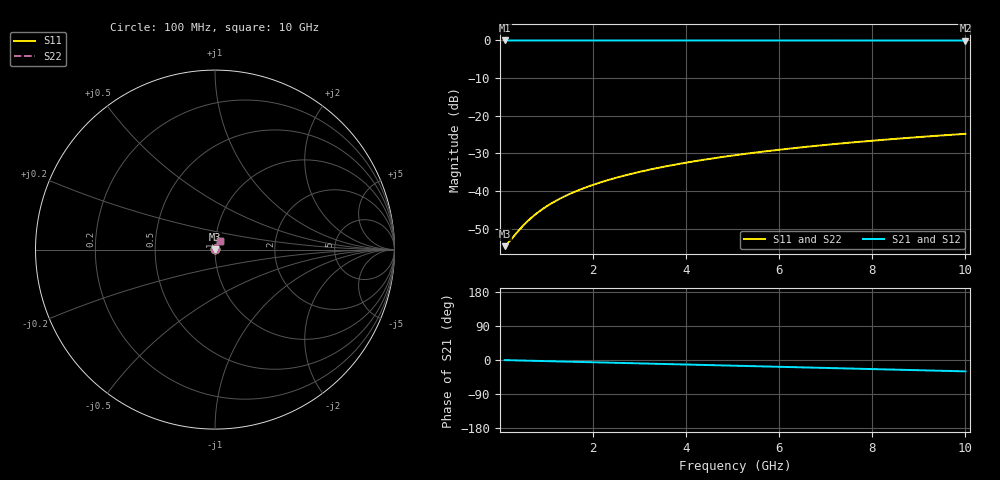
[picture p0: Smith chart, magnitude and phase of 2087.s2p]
# Hz S RI R 50.00
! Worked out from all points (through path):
!   100 points, 100 MHz to 10 GHz, reference 50 ohm
!   highest |S21| = -0.02 dB at 100 MHz (marker M1); lowest = 0.0 dB at 10 GHz (marker M2)
!   group delay of S21, straight-line fit = 8.34 ps
!   lowest |S11| = -54.6 dB at 100 MHz (marker M3), VSWR 1.00, Z = 50.2 + j0.0593 ohm
!   |S11| at or under -10 dB: start of sweep to end of sweep
!   |S22| runs from -54.6 to -24.8 dB; largest |S21 - S12| = 0
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1e8  0.00176 0.00059  0.9982 -0.00519  0.9982 -0.00519  0.00176 0.00059
2e8  0.00178 0.00118  0.9982 -0.0104  0.9982 -0.0104  0.00178 0.00118
4e8  0.00183 0.00236  0.998 -0.0208  0.998 -0.0208  0.00183 0.00236
5e8  0.00186 0.00295  0.9979 -0.026  0.9979 -0.026  0.00186 0.00295
6e8  0.00189 0.00354  0.9977 -0.0312  0.9977 -0.0312  0.00189 0.00354
7e8  0.00194 0.00413  0.9975 -0.0363  0.9975 -0.0363  0.00194 0.00413
9e8  0.00204 0.0053  0.9971 -0.0467  0.9971 -0.0467  0.00204 0.0053
1.1e9  0.00217 0.00647  0.9965 -0.0571  0.9965 -0.0571  0.00217 0.00647
1.3e9  0.00232 0.00764  0.9958 -0.0675  0.9958 -0.0675  0.00232 0.00764
1.5e9  0.00249 0.00881  0.9951 -0.0778  0.9951 -0.0778  0.00249 0.00881
1.8e9  0.0028 0.0105  0.9937 -0.0934  0.9937 -0.0934  0.0028 0.0105
2.1e9  0.00316 0.0123  0.9921 -0.1089  0.9921 -0.1089  0.00316 0.0123
2.5e9  0.00372 0.0146  0.9895 -0.1295  0.9895 -0.1295  0.00372 0.0146
2.9e9  0.00438 0.0168  0.9866 -0.1502  0.9866 -0.1502  0.00438 0.0168
3.4e9  0.00533 0.0196  0.9822 -0.1758  0.9822 -0.1758  0.00533 0.0196
4.2e9  0.00716 0.0239  0.9739 -0.2167  0.9739 -0.2167  0.00716 0.0239
5.1e9  0.00964 0.0286  0.9624 -0.2623  0.9624 -0.2623  0.00964 0.0286
5.9e9  0.0122 0.0325  0.9504 -0.3023  0.9504 -0.3023  0.0122 0.0325
6.7e9  0.0151 0.0363  0.9367 -0.3419  0.9367 -0.3419  0.0151 0.0363
7.5e9  0.0183 0.0398  0.9213 -0.3809  0.9213 -0.3809  0.0183 0.0398
8.4e9  0.0223 0.0434  0.902 -0.424  0.902 -0.424  0.0223 0.0434
1e10  0.0302 0.0489  0.8625 -0.4984  0.8625 -0.4984  0.0302 0.0489
